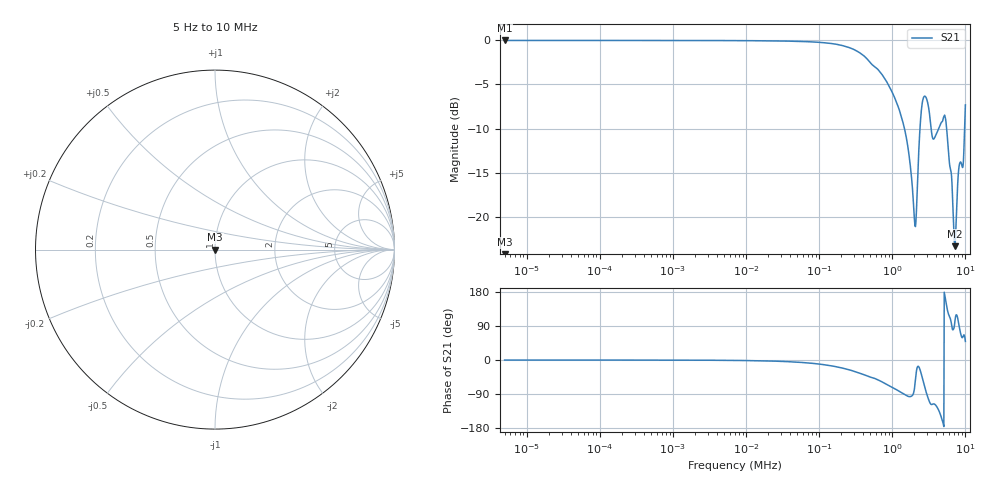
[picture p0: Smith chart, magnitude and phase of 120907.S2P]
!Agilent Technologies,E5061B,MY49204007,A.02.12
!Date: Fri Sep 12 10:17:47 2025
!Data & Calibration Information:
!Freq	S11:SOLT2(OFF)	S21:SOLT2(OFF)	S12:SOLT2(OFF)	S22:SOLT2(OFF)
# Hz S dB R 50
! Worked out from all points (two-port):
!   1041 points, 5 Hz to 10 MHz, reference 50 ohm
!   highest |S21| = -0.04 dB at 5 Hz (marker M1); lowest = -23.3 dB at 7.168 MHz (marker M2)
!   |S21| within 3 dB of the highest: start of sweep to 581.5 kHz
!   lowest |S11| = - dB at 5 Hz (marker M3), VSWR 1.00, Z = 50 + j0 ohm
!   |S11| at or under -10 dB: start of sweep to end of sweep
!   S12 and S22 are empty: the file has one direction only
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5  -200.00 0.0  -0.04 -0.2  -200.00 0.0  -200.00 0.0
56.522  -200.00 0.0  -0.04 -0.2  -200.00 0.0  -200.00 0.0
632.897  -200.00 0.0  -0.04 -0.3  -200.00 0.0  -200.00 0.0
7154.49  -200.00 0.0  -0.06 -1.1  -200.00 0.0  -200.00 0.0
80111.67  -200.00 0.0  -0.20 -8.7  -200.00 0.0  -200.00 0.0
271878.7  -200.00 0.0  -0.92 -27.2  -200.00 0.0  -200.00 0.0
456901.2  -200.00 0.0  -2.16 -42.4  -200.00 0.0  -200.00 0.0
893075.1  -200.00 0.0  -5.12 -66.9  -200.00 0.0  -200.00 0.0
1529928  -200.00 0.0  -10.70 -92.9  -200.00 0.0  -200.00 0.0
2010257  -200.00 0.0  -20.31 -75.6  -200.00 0.0  -200.00 0.0
2141553  -200.00 0.0  -19.27 -28.9  -200.00 0.0  -200.00 0.0
2305674  -200.00 0.0  -12.52 -17.9  -200.00 0.0  -200.00 0.0
2666740  -200.00 0.0  -6.52 -59.1  -200.00 0.0  -200.00 0.0
2907501  -200.00 0.0  -6.52 -84.7  -200.00 0.0  -200.00 0.0
3226529  -200.00 0.0  -8.30 -110.4  -200.00 0.0  -200.00 0.0
3727860  -200.00 0.0  -11.15 -115.9  -200.00 0.0  -200.00 0.0
4505004  -200.00 0.0  -9.62 -141.4  -200.00 0.0  -200.00 0.0
5137346  -200.00 0.0  -8.57 178.9  -200.00 0.0  -200.00 0.0
5860704  -200.00 0.0  -12.63 121.7  -200.00 0.0  -200.00 0.0
7168058  -200.00 0.0  -23.30 100.4  -200.00 0.0  -200.00 0.0
7957789  -200.00 0.0  -15.39 104.3  -200.00 0.0  -200.00 0.0
1e7  -200.00 0.0  -7.33 49.0  -200.00 0.0  -200.00 0.0
